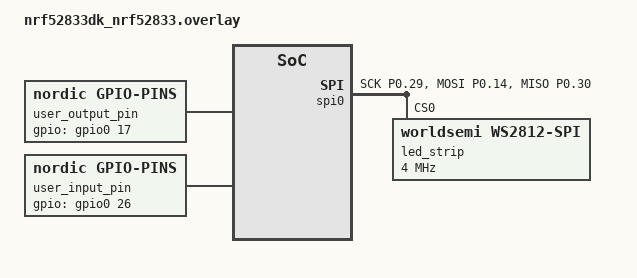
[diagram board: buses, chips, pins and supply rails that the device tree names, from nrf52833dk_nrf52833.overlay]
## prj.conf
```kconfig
CONFIG_ADC=y
CONFIG_NEWLIB_LIBC=y
CONFIG_NEWLIB_LIBC_FLOAT_PRINTF=y
CONFIG_GPIO=y
CONFIG_SPI=y
#CONFIG_WS2812_STRIP=y
#CONFIG_LED_STRIP=y

CONFIG_BT=y
CONFIG_BT_PERIPHERAL=y
CONFIG_BT_DEVICE_NAME="Mic-Sense"

CONFIG_BT_BUF_ACL_TX_SIZE=251
CONFIG_BT_BUF_ACL_TX_COUNT=3
CONFIG_BT_BUF_ACL_RX_SIZE=251
CONFIG_BT_BUF_EVT_RX_COUNT=10

# Maximum TX power
CONFIG_BT_CTLR_TX_PWR_PLUS_8=y

# Coded PHY removed for iPhone compatibility
# CONFIG_BT_CTLR_PHY_CODED=y
# CONFIG_BT_PHY_UPDATE=y
# CONFIG_BT_EXT_ADV=y

# Longer connection interval = better battery + range
CONFIG_BT_PERIPHERAL_PREF_MIN_INT=160
CONFIG_BT_PERIPHERAL_PREF_MAX_INT=320
CONFIG_BT_PERIPHERAL_PREF_LATENCY=2
CONFIG_BT_PERIPHERAL_PREF_TIMEOUT=600

CONFIG_RTT_CONSOLE=y
CONFIG_STDOUT_CONSOLE=y
CONFIG_UART_CONSOLE=n
CONFIG_USE_SEGGER_RTT=y
#CONFIG_SHELL_BACKEND_RTT=y
CONFIG_LOG=y

CONFIG_CLOCK_CONTROL_NRF_K32SRC_RC=y
CONFIG_CLOCK_CONTROL_NRF_K32SRC_XTAL=n
CONFIG_CLOCK_CONTROL_NRF_K32SRC_RC_CALIBRATION=y
```

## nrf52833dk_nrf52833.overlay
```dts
// To get started, press Ctrl+Space to bring up the completion menu and view the available nodes.

// You can also use the buttons in the sidebar to perform actions on nodes.
// Actions currently available include:

// * Enabling / disabling the node
// * Adding the bus to a bus
// * Removing the node
// * Connecting ADC channels

// For more help, browse the DeviceTree documentation at https://docs.zephyrproject.org/latest/guides/dts/index.html
// You can also visit the nRF DeviceTree extension documentation at https://docs.nordicsemi.com/bundle/nrf-connect-vscode/page/guides/ncs_configure_app.html#devicetree-support-in-the-extension

// 	model = "Nordic nRF52833 DK NRF52833";
// 	compatible = "nordic,nrf52833-dk-nrf52833";

#include <zephyr/dt-bindings/led/led.h>

// #include "nrf52-bindings.h"

&spi0 {
	compatible = "nordic,nrf-spi";
	status = "okay";
	pinctrl-0 = <&spi0_custom>;
	pinctrl-1 = <&spi0_sleep>;
	pinctrl-names = "default", "sleep";

	led_strip: ws2812@0 {
		compatible = "worldsemi,ws2812-spi";

		/* SPI */
		reg = <0>; /* ignored, but necessary for SPI bindings */
		spi-max-frequency = <4000000>;

		/* WS2812 */
		chain-length = <1>; /* arbitrary; change at will */
		color-mapping = <LED_COLOR_ID_GREEN
				 LED_COLOR_ID_RED
				 LED_COLOR_ID_BLUE>;
		spi-one-frame = <0x70>;
		spi-zero-frame = <0x40>;
        status = "okay";
	};

	
};

/ {
	aliases {
		led-strip = &led_strip;
	};
};

&pinctrl {
	spi0_custom: spi0_custom {
		group1 {
			psels = <NRF_PSEL(SPIM_SCK, 0, 29)>,
				<NRF_PSEL(SPIM_MOSI, 0, 14)>,
				<NRF_PSEL(SPIM_MISO, 0, 30)>;
		};
	};

	spi0_sleep: spi0_sleep {
		group1 {
			psels = <NRF_PSEL(SPIM_SCK, 0, 29)>,
				<NRF_PSEL(SPIM_MOSI, 0, 14)>,
				<NRF_PSEL(SPIM_MISO, 0, 30)>;
			low-power-enable;
		};
	};
};


&gpio0 {
    status = "okay";
};


/ {
    user_output_pin: user-output-pin {
        compatible = "nordic,gpio-pins";
        gpios = <&gpio0 17 GPIO_ACTIVE_HIGH>;
        status = "okay";
    };

};

/ {
    user_input_pin: user-input-pin {
        compatible = "nordic,gpio-pins";
        gpios = <&gpio0 26 GPIO_ACTIVE_HIGH>;
        status = "okay";
    };
};
```

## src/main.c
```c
#include <zephyr/device.h>
#include <zephyr/devicetree.h>
#include <zephyr/drivers/adc.h>
#include <zephyr/kernel.h>
#include <zephyr/sys/printk.h>
#include <zephyr/sys/util.h>
#include <zephyr/drivers/gpio.h>
#include "micsense_service.h"
#include <zephyr/drivers/led_strip.h>
#include <stddef.h>
#include <string.h>
#include <errno.h>
#include <soc.h>
#include <math.h>
#include <stdio.h>

#ifndef M_PI
#define M_PI 3.14159265358979323846f
#endif

/* Forward declaration */
void update_led_state(enum ble_state state);

/* LED strip: hardware not present on nrf52840dk, use dummy */
#define DELAY_TIME K_MSEC(5)
#define STRIP_NUM_PIXELS 1
static struct led_rgb pixels[STRIP_NUM_PIXELS];
static const struct device *strip = NULL;

#define LED_BLINK_ADV_SLOW  K_MSEC(1000)
#define LED_BLINK_CONN_FAST K_MSEC(200)
#define LED_CONNECTED_GREEN K_MSEC(0)

static enum ble_state current_ble_state = BLE_STATE_IDLE;
static struct k_timer led_blink_timer;
static bool led_on = false;

/* GPIO: use zephyr,user node properties */
#define EN_PIN_NODE   DT_PATH(zephyr_user)
#define PAIR_PIN_NODE DT_PATH(zephyr_user)

static const struct gpio_dt_spec pwr_En   = GPIO_DT_SPEC_GET(EN_PIN_NODE,   user_output_gpios);
static const struct gpio_dt_spec pair_pin = GPIO_DT_SPEC_GET(PAIR_PIN_NODE, user_input_gpios);

static struct gpio_callback input_cb_data;
static struct k_work button_work;

bool status = false;
int count = 0;
static bool advertising_active = false;
#define AUDIO_BUFFER_SIZE 16000
int16_t audio_buffer[AUDIO_BUFFER_SIZE];
volatile uint32_t audio_write_index = 0;

#define SLEEP_TIME_MS 100
float db = 0.0;
int16_t db_int = 0;
#define ADC_NODE DT_NODELABEL(adc)
static const struct device *adc_dev = DEVICE_DT_GET(ADC_NODE);

#define ADC_RESOLUTION 12
#define ADC_CHANNEL    0
#define ADC_PORT       SAADC_CH_PSELP_PSELP_AnalogInput0
#define ADC_REFERENCE  ADC_REF_INTERNAL
#define ADC_GAIN       ADC_GAIN_1_6

#define BATTERY_ADC_CHANNEL 1
#define BATTERY_ADC_PORT    SAADC_CH_PSELP_PSELP_AnalogInput1

struct adc_channel_cfg chl0_cfg = {
    .gain             = ADC_GAIN,
    .reference        = ADC_REFERENCE,
    .acquisition_time = ADC_ACQ_TIME_DEFAULT,
    .channel_id       = ADC_CHANNEL,
#ifdef CONFIG_ADC_NRFX_SAADC
    .input_positive   = ADC_PORT
#endif
};

struct adc_channel_cfg battery_ch_cfg = {
    .gain             = ADC_GAIN,
    .reference        = ADC_REFERENCE,
    .acquisition_time = ADC_ACQ_TIME_DEFAULT,
    .channel_id       = BATTERY_ADC_CHANNEL,
#ifdef CONFIG_ADC_NRFX_SAADC
    .input_positive   = BATTERY_ADC_PORT
#endif
};

int16_t sampleBuffer[1];

struct adc_sequence sequence = {
    .channels    = BIT(ADC_CHANNEL),
    .buffer      = sampleBuffer,
    .buffer_size = sizeof(sampleBuffer),
    .resolution  = ADC_RESOLUTION
};

int16_t battery_sample[1];

struct adc_sequence battery_sequence = {
    .channels    = BIT(BATTERY_ADC_CHANNEL),
    .buffer      = battery_sample,
    .buffer_size = sizeof(battery_sample),
    .resolution  = ADC_RESOLUTION
};

/* Advertising data: flags + device name */
static const struct bt_data ad[] = {
    BT_DATA_BYTES(BT_DATA_FLAGS, (BT_LE_AD_GENERAL | BT_LE_AD_NO_BREDR)),
    BT_DATA(BT_DATA_NAME_COMPLETE, CONFIG_BT_DEVICE_NAME,
            sizeof(CONFIG_BT_DEVICE_NAME) - 1),
};

/* Scan response data: UUID */
static const struct bt_data sd[] = {
    BT_DATA_BYTES(BT_DATA_UUID128_ALL, BT_UUID_SET_THRESHOLD_SERVICE_VAL),
};

static struct k_timer button_timer;
static bool long_press_detected = false;

static void button_work_handler(struct k_work *work)
{
    if (k_timer_status_get(&button_timer) > 0) {
        printk("Long press detected!\n");
        gpio_pin_set_dt(&pwr_En, 0);
        while (1) {
            k_sleep(K_FOREVER);
        }
    } else {
        printk("Short press detected. Toggling BLE advertising...\n");
        int err;
        if (advertising_active) {
            err = bt_le_adv_stop();
            if (!err) {
                advertising_active = false;
                update_led_state(BLE_STATE_IDLE);
            }
        } else {
            err = bt_le_adv_start(
                BT_LE_ADV_PARAM(BT_LE_ADV_OPT_CONN,
                    BT_GAP_ADV_FAST_INT_MIN_2,
                    BT_GAP_ADV_FAST_INT_MAX_2,
                    NULL),
                ad, ARRAY_SIZE(ad), sd, ARRAY_SIZE(sd));
            if (!err) {
                advertising_active = true;
                update_led_state(BLE_STATE_ADVERTISING);
            }
        }
    }

    k_timer_stop(&button_timer);
}

void button_timer_expiry(struct k_timer *timer_id)
{
    long_press_detected = true;
    k_work_submit(&button_work);
}

void input_pin_isr(const struct device *dev, struct gpio_callback *cb, uint32_t pins)
{
    bool pin_state = gpio_pin_get_dt(&pair_pin);

    if (pin_state) {
        k_timer_start(&button_timer, K_SECONDS(3), K_NO_WAIT);
    } else {
        k_work_submit(&button_work);
    }
}

void update_led_strip(uint8_t r, uint8_t g, uint8_t b)
{
    if (strip == NULL) {
        return;
    }
    for (int i = 0; i < STRIP_NUM_PIXELS; i++) {
        pixels[i].r = r;
        pixels[i].g = g;
        pixels[i].b = b;
    }
    led_strip_update_rgb(strip, pixels, STRIP_NUM_PIXELS);
}

void update_led_state(enum ble_state state)
{
    current_ble_state = state;

    switch (state) {
    case BLE_STATE_ADVERTISING:
        update_led_strip(255, 255, 0);
        break;
    case BLE_STATE_CONNECTING:
        update_led_strip(255, 165, 0);
        break;
    case BLE_STATE_CONNECTED:
        update_led_strip(0, 255, 0);
        break;
    default:
        update_led_strip(255, 0, 0);
        break;
    }
}

#define NUM_SAMPLES       5
#define SMOOTHING_ALPHA   0.1f
#define DEFAULT_DB_OFFSET 0.0f

static float   db_filtered        = 0.0f;
static float   calibration_offset = DEFAULT_DB_OFFSET;
static int32_t baseline_dc        = 1500;

#define SAMPLE_RATE_HZ   8000
#define FRAME_SAMPLES    64
#define HPF_R            0.995f
#define FRAME_MS         ((1000 * FRAME_SAMPLES) / SAMPLE_RATE_HZ)

#define BPF_FC_HZ        2000.0f  /* Widened from 800Hz to catch more sound */
#define BPF_Q            0.3f     /* Wider bandwidth */
#define DB_BPF_GAIN_COMP 20.0f    /* Increased sensitivity */

typedef struct {
    float a0, a1, a2, b1, b2, z1, z2;
} biquad_t;

static biquad_t bpf;

static void biquad_init_bandpass(biquad_t *s, float sample_rate_hz, float f0_hz, float q)
{
    float w0     = 2.0f * (float)M_PI * f0_hz / sample_rate_hz;
    float sin_w0 = sinf(w0);
    float cos_w0 = cosf(w0);
    float alpha  = sin_w0 / (2.0f * q);

    float b0 =  q * alpha;
    float b1 =  0.0f;
    float b2 = -q * alpha;
    float a0 =  1.0f + alpha;
    float a1 = -2.0f * cos_w0;
    float a2 =  1.0f - alpha;

    s->a0 = b0 / a0;
    s->a1 = b1 / a0;
    s->a2 = b2 / a0;
    s->b1 = a1 / a0;
    s->b2 = a2 / a0;
    s->z1 = 0.0f;
    s->z2 = 0.0f;
}

static inline float biquad_process(biquad_t *s, float x)
{
    float y = s->a0 * x + s->z1;
    s->z1   = s->a1 * x - s->b1 * y + s->z2;
    s->z2   = s->a2 * x - s->b2 * y;
    return y;
}

static float hpf_prev_x = 0.0f;
static float hpf_prev_y = 0.0f;

#define TRIGGER_HOLD_MS    200
#define RESET_HOLD_MS      100
#define NOTIFY_COOLDOWN_MS 400

static uint32_t above_ms       = 0;
static uint32_t below_ms       = 0;
static uint32_t last_notify_ms = 0;
static int      notify_armed   = 1;

void calibrate_baseline_dc(void)
{
    int32_t total = 0;
    int err;

    for (int i = 0; i < NUM_SAMPLES; i++) {
        err = adc_read(adc_dev, &sequence);
        if (err == 0) {
            int32_t mv_value = sampleBuffer[0];
            int32_t adc_vref = adc_ref_internal(adc_dev);
            adc_raw_to_millivolts(adc_vref, ADC_GAIN, ADC_RESOLUTION, &mv_value);
            total += mv_value;
        }
        k_msleep(5);
    }

    baseline_dc = total / NUM_SAMPLES;
    printf("Calibrated baseline DC: %d mV\n", baseline_dc);
}

int main(void)
{
    int err;
    printk("Startup\n");

    k_work_init(&button_work, button_work_handler);
    k_timer_init(&button_timer, button_timer_expiry, NULL);

    update_led_state(BLE_STATE_IDLE);

    /* Restore power enable pin — keeps board powered on */
    if (!device_is_ready(pwr_En.port)) {
        printk("GPIO port not ready\n");
    } else {
        gpio_pin_configure_dt(&pwr_En, GPIO_OUTPUT_ACTIVE);
        gpio_pin_set_dt(&pwr_En, 1);
        printk("Power enable pin set HIGH\n");
    }

    /* Button (pair_pin) still bypassed for now */
    printk("Button bypassed for testing\n");

    if (init_ble() == 0) {
        printf("BLE Initialized successfully.\n");
    } else {
        printf("BLE Initialization failed.\n");
        return -1;
    }

    /* Small delay to let BLE stack settle */
    k_msleep(100);

    printk("About to start advertising...\n");

    int adv_err = bt_le_adv_start(
        BT_LE_ADV_PARAM(BT_LE_ADV_OPT_CONN,
            BT_GAP_ADV_FAST_INT_MIN_2,
            BT_GAP_ADV_FAST_INT_MAX_2,
            NULL),
        ad, ARRAY_SIZE(ad), sd, ARRAY_SIZE(sd));
    if (!adv_err) {
        advertising_active = true;
        printk("Auto-advertising started!\n");
    } else {
        printk("Failed to start advertising (err %d)\n", adv_err);
    }

    printk("Starting ADC setup...\n");

    if (!device_is_ready(adc_dev)) {
        printf("ADC Device not ready\n");
        return -1;
    }

    err = adc_channel_setup(adc_dev, &chl0_cfg);
    if (err != 0) {
        printf("ADC Setup failed with error %d.\n", err);
        return err;
    }

    err = adc_channel_setup(adc_dev, &battery_ch_cfg);
    if (err != 0) {
        printf("Battery ADC Setup failed with error %d.\n", err);
        return err;
    }

    printk("ADC setup done. Calibrating microphone...\n");

    /* Calibrate microphone DC offset on startup */
    printf("Calibrating microphone DC offset...\n");
    //calibrate_baseline_dc();
    printf("Calibration done!\n");

    printk("Entering main loop...\n");

    biquad_init_bandpass(&bpf, (float)SAMPLE_RATE_HZ, BPF_FC_HZ, BPF_Q);

    while (1) {
        int32_t sum_sq = 0;

        for (int i = 0; i < FRAME_SAMPLES; i++) {
            err = adc_read(adc_dev, &sequence);
            if (err != 0) {
                printf("ADC reading failed with error %d.\n", err);
                continue;
            }

            int32_t mv_value = sampleBuffer[0];
            int32_t adc_vref = adc_ref_internal(adc_dev);
            adc_raw_to_millivolts(adc_vref, ADC_GAIN, ADC_RESOLUTION, &mv_value);

            /* Debug: print raw ADC value every frame (first sample only) */
            if (i == 0) {
                printk("Raw ADC mv: %d, baseline: %d, diff: %d\n",
                       (int)mv_value, (int)baseline_dc,
                       (int)(mv_value - baseline_dc));
            }

            float x  = (float)(mv_value - baseline_dc);
            float y  = x - hpf_prev_x + HPF_R * hpf_prev_y;
            hpf_prev_x = x;
            hpf_prev_y = y;

            float y_bp = biquad_process(&bpf, y);

            if (y_bp >  10000.0f) y_bp =  10000.0f;
            if (y_bp < -10000.0f) y_bp = -10000.0f;
            sum_sq += (int32_t)(y_bp * y_bp);

            k_busy_wait(1000000 / SAMPLE_RATE_HZ);
        }

        float rms = sqrtf((float)sum_sq / FRAME_SAMPLES);
        if (rms < 1.0f) rms = 1.0f;

        float db_val = 20.0f * log10f(rms) + calibration_offset + DB_BPF_GAIN_COMP;
        db_filtered  = SMOOTHING_ALPHA * db_val + (1.0f - SMOOTHING_ALPHA) * db_filtered;

        /* Debug: print dB value every frame */
        printk("dB_val: %d, dB_filtered: %d, RMS: %d\n",
               (int)db_val, (int)db_filtered, (int)rms);

        if (db_filtered >= threshold_value) {
            above_ms += FRAME_MS;
            below_ms  = 0;

            alertThreshold = 1;
            printk("------>>>>>>>>>Value of threshold variable: %d\n", threshold_value);

            if (my_connection) {
                int notify_err = bt_gatt_notify(my_connection, alert_threshold_attr,
                                                &alertThreshold, sizeof(alertThreshold));
                if (notify_err) {
                    printk("Failed to notify (err %d)\n", notify_err);
                } else {
                    printk("Threshold notification sent: %d (dB=%.1f)\n",
                           alertThreshold, (double)db_filtered);
                }
            }
        } else {
            below_ms += FRAME_MS;
            above_ms  = 0;
            alertThreshold = 0;

            if (!notify_armed && below_ms >= RESET_HOLD_MS) {
                notify_armed = 1;
            }
        }

        if (sound_streaming_enabled > 0 && my_connection) {
            db_int = (int8_t)(db_filtered);
            int notify_err = bt_gatt_notify(my_connection, getStreamService_attr,
                                            &db_int, sizeof(db_int));
            if (notify_err) {
                printk("Failed to notify (err %d)\n", notify_err);
            } else {
                printk("dB Notification sent: %d\n", db_int);
            }
        }
    }

    return 0;
}
```

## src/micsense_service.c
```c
#include <zephyr/types.h>
#include <stddef.h>
#include <string.h>
#include <errno.h>
#include <soc.h>
#include <stdio.h>

#include <zephyr/bluetooth/bluetooth.h>
#include <zephyr/bluetooth/hci.h>
#include <zephyr/bluetooth/conn.h>
#include <zephyr/bluetooth/gatt.h>
#include <zephyr/bluetooth/uuid.h>
#include "micsense_service.h"

/* UUIDs Definitions */
#define BT_UUID_GET_THRESHOLD_SERVICE           BT_UUID_DECLARE_128(BT_UUID_GET_THRESHOLD_SERVICE_VAL)
#define BT_UUID_GET_THRESHOLD_CHARACTERISTIC    BT_UUID_DECLARE_128(BT_UUID_GET_THRESHOLD_CHARACTERISTIC_VAL)

#define BT_UUID_SET_THRESHOLD_SERVICE           BT_UUID_DECLARE_128(BT_UUID_SET_THRESHOLD_SERVICE_VAL)
#define BT_UUID_SET_THRESHOLD_CHARACTERISTIC    BT_UUID_DECLARE_128(BT_UUID_SET_THRESHOLD_CHARACTERISTIC_VAL)

#define BT_UUID_GET_BATTERY_SERVICE              BT_UUID_DECLARE_128(BT_UUID_GET_BATTERY_SERVICE_VAL)
#define BT_UUID_GET_BATTERY_CHARACTERISTIC       BT_UUID_DECLARE_128(BT_UUID_GET_BATTERY_CHARACTERISTIC_VAL)

#define BT_UUID_GET_SOUND_LEVEL_SERVICE          BT_UUID_DECLARE_128(BT_UUID_GET_SOUND_LEVEL_SERVICE_VAL)
#define BT_UUID_GET_SOUND_LEVEL_CHARACTERISTIC   BT_UUID_DECLARE_128(BT_UUID_GET_SOUND_LEVEL_CHARACTERISTIC_VAL)

#define BT_UUID_SET_SOUND_LEVEL_SERVICE          BT_UUID_DECLARE_128(BT_UUID_SET_SOUND_LEVEL_SERVICE_VAL)
#define BT_UUID_SET_SOUND_LEVEL_CHARACTERISTIC   BT_UUID_DECLARE_128(BT_UUID_SET_SOUND_LEVEL_CHARACTERISTIC_VAL)

#define BT_UUID_THRESHOLD_ALERT_SERVICE          BT_UUID_DECLARE_128(BT_UUID_THRESHOLD_ALERT_SERVICE_VAL)
#define BT_UUID_THRESHOLD_ALERT_CHARACTERISTIC   BT_UUID_DECLARE_128(BT_UUID_THRESHOLD_ALERT_CHARACTERISTIC_VAL)

#define BT_UUID_MICSENESE BT_UUID_DECLARE_128(BT_UUID_MICSENESE_VAL)
#define MAX_TRANSMIT_SIZE 1024

volatile bool ble_ready = false;

struct bt_conn *my_connection = NULL;
bool notify_enabled = false;

uint8_t threshold_value         = 50;
static uint8_t battery_level    = 40;
static uint8_t sound_level      = 0;
uint8_t sound_streaming_enabled = 0;
static bool threshold_alert_enabled = false;
uint8_t alertThreshold;

int MICSENSE_service_init(void)
{
    return 0;
}

static ssize_t on_receive(struct bt_conn *conn,
                          const struct bt_gatt_attr *attr,
                          const void *buf,
                          uint16_t len,
                          uint16_t offset,
                          uint8_t flags)
{
    uint8_t received_value;
    memcpy(&received_value, buf, sizeof(uint8_t));
    threshold_value = received_value;
    printk("Received integer: %d\n", received_value);
    printk("------Value stored in threshold variable: %d\n", threshold_value);
    return len;
}

static ssize_t on_SetStream(struct bt_conn *conn,
    const struct bt_gatt_attr *attr,
    const void *buf,
    uint16_t len,
    uint16_t offset,
    uint8_t flags)
{
    uint8_t received_value;
    memcpy(&received_value, buf, sizeof(uint8_t));
    sound_streaming_enabled = received_value;
    printk("Received Set Stream: %d\n", received_value);
    return len;
}

ssize_t on_getThreshold(struct bt_conn *conn,
    const struct bt_gatt_attr *attr,
    const void *buf,
    uint16_t len,
    uint16_t offset)
{
    printk("In On get Threshold function\n");
    return bt_gatt_attr_read(conn, attr, (void *)buf, len, offset,
                             &threshold_value, sizeof(threshold_value));
}

void on_cccd_changed(const struct bt_gatt_attr *attr, uint16_t value)
{
    ARG_UNUSED(attr);
    switch (value) {
    case BT_GATT_CCC_NOTIFY:
        printk("Notifications enabled\n");
        notify_enabled = true;
        break;
    case BT_GATT_CCC_INDICATE:
        break;
    case 0:
        printk("Notifications disabled\n");
        notify_enabled = false;
        break;
    default:
        printk("Error, CCCD has been set to an invalid value\n");
    }
}

static ssize_t read_hello(struct bt_conn *conn,
    const struct bt_gatt_attr *attr,
    void *buf,
    uint16_t len,
    uint16_t offset)
{
    const uint8_t *value = attr->user_data;
    return bt_gatt_attr_read(conn, attr, buf, len, offset, value, sizeof(uint8_t));
}

BT_GATT_SERVICE_DEFINE(setThreshold,
    BT_GATT_PRIMARY_SERVICE(BT_UUID_SET_THRESHOLD_SERVICE),
    BT_GATT_CHARACTERISTIC(BT_UUID_SET_THRESHOLD_CHARACTERISTIC,
                           BT_GATT_CHRC_WRITE,
                           BT_GATT_PERM_WRITE,
                           NULL, on_receive, NULL),
);

BT_GATT_SERVICE_DEFINE(setStreamService,
    BT_GATT_PRIMARY_SERVICE(BT_UUID_SET_SOUND_LEVEL_SERVICE),
    BT_GATT_CHARACTERISTIC(BT_UUID_SET_SOUND_LEVEL_CHARACTERISTIC,
                           BT_GATT_CHRC_WRITE,
                           BT_GATT_PERM_WRITE,
                           NULL, on_SetStream, NULL),
);

BT_GATT_SERVICE_DEFINE(getThreshold,
    BT_GATT_PRIMARY_SERVICE(BT_UUID_GET_THRESHOLD_SERVICE),
    BT_GATT_CHARACTERISTIC(BT_UUID_GET_THRESHOLD_CHARACTERISTIC,
                           BT_GATT_CHRC_READ,
                           BT_GATT_PERM_READ,
                           read_hello, NULL, &threshold_value),
);

BT_GATT_SERVICE_DEFINE(batteryService,
    BT_GATT_PRIMARY_SERVICE(BT_UUID_GET_BATTERY_SERVICE),
    BT_GATT_CHARACTERISTIC(BT_UUID_GET_BATTERY_CHARACTERISTIC,
                           BT_GATT_CHRC_READ,
                           BT_GATT_PERM_READ,
                           read_hello, NULL, &battery_level),
);

const struct bt_gatt_attr *alert_threshold_attr;

BT_GATT_SERVICE_DEFINE(alertThresholdSrvc,
    BT_GATT_PRIMARY_SERVICE(BT_UUID_THRESHOLD_ALERT_SERVICE),
    BT_GATT_CHARACTERISTIC(BT_UUID_THRESHOLD_ALERT_CHARACTERISTIC,
                           BT_GATT_CHRC_READ | BT_GATT_CHRC_NOTIFY,
                           BT_GATT_PERM_READ,
                           read_hello, NULL, &alertThreshold),
    BT_GATT_CCC(on_cccd_changed, BT_GATT_PERM_READ | BT_GATT_PERM_WRITE)
);

const struct bt_gatt_attr *getStreamService_attr;

BT_GATT_SERVICE_DEFINE(getStreamService,
    BT_GATT_PRIMARY_SERVICE(BT_UUID_GET_SOUND_LEVEL_SERVICE),
    BT_GATT_CHARACTERISTIC(BT_UUID_GET_SOUND_LEVEL_CHARACTERISTIC,
                           BT_GATT_CHRC_READ | BT_GATT_CHRC_NOTIFY,
                           BT_GATT_PERM_READ,
                           read_hello, NULL, &db_int),
    BT_GATT_CCC(on_cccd_changed, BT_GATT_PERM_READ | BT_GATT_PERM_WRITE)
);

void setup_alert_service(void)
{
    alert_threshold_attr  = &alertThresholdSrvc.attrs[1];
    getStreamService_attr = &getStreamService.attrs[1];
}

static void connected(struct bt_conn *conn, uint8_t err)
{
    struct bt_conn_info info;
    char addr[BT_ADDR_LE_STR_LEN];
    my_connection = conn;

    if (err) {
        printf("Connection failed (err %u)\n", err);
        return;
    } else if (bt_conn_get_info(conn, &info)) {
        printf("Could not parse info\n");
    } else {
        bt_addr_le_to_str(bt_conn_get_dst(conn), addr, sizeof(addr));
        printf("Connection established! Connected to: %s\n", addr);

        setup_alert_service();
        update_led_state(BLE_STATE_CONNECTED);

        const struct bt_le_conn_param param = BT_LE_CONN_PARAM_INIT(24, 40, 0, 400);
        int rc = bt_conn_le_param_update(conn, &param);
        if (rc) {
            printf("conn param update failed (%d)\n", rc);
        }
    }
}

static void disconnected(struct bt_conn *conn, uint8_t reason)
{
    printf("Disconnected (reason %u)\n", reason);
    my_connection = NULL;
    update_led_state(BLE_STATE_ADVERTISING);
}

static struct bt_conn_cb conn_callbacks = {
    .connected    = connected,
    .disconnected = disconnected,
};

int init_ble(void)
{
    int err;

    printf("Initializing BLE\n");
    printf("Calling bt_enable...\n");

    err = bt_enable(NULL);
    if (err) {
        printf("bt_enable failed (err %d)\n", err);
        return err;
    }
    printf("bt_enable done!\n");

    bt_conn_cb_register(&conn_callbacks);
    printf("conn callbacks registered\n");

    setup_alert_service();
    printf("alert service setup done\n");

    printf("BLE stack ready.\n");
    return 0;
}
```
